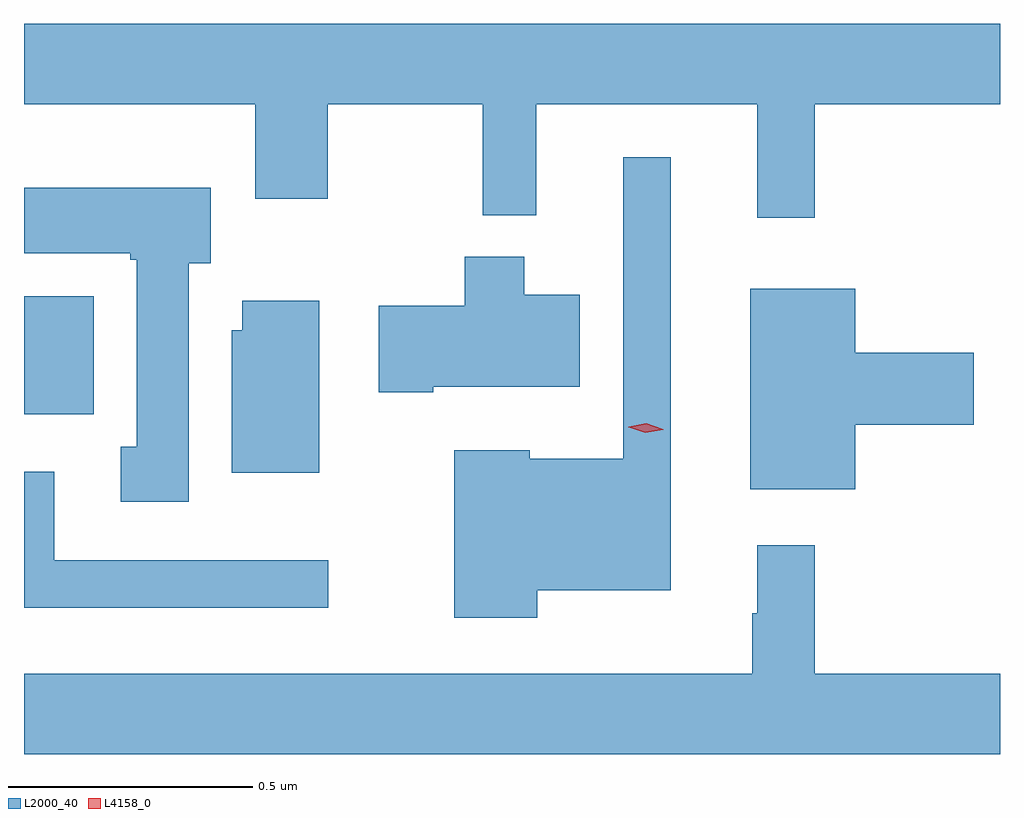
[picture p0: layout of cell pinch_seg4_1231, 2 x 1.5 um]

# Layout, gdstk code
import gdstk
lib = gdstk.Library(unit=1e-6, precision=1e-09)
def R(c, l, rs):  # rectangles x0, y0, x1, y1
    for r in rs: c.add(gdstk.rectangle(r[:2], r[2:], *l))
def P(c, l, *ps):  # polygons
    for p in ps: c.add(gdstk.Polygon(p, *l))
L2000_40 = (2000, 40)
L4158_0 = (4158, 0)

pinch_seg4_1231 = lib.new_cell('pinch_seg4_1231')
R(pinch_seg4_1231, L2000_40, [(330.287,800.18,330.43,800.422)])
P(pinch_seg4_1231, L2000_40, [(331.907,800.816),(332.287,800.816),(332.287,800.98),(330.287,800.98),(330.287,800.816),(330.761,800.816),(330.761,800.622),(330.909,800.622),(330.909,800.816),(331.227,800.816),(331.227,800.588),(331.337,800.588),(331.337,800.816),(331.79,800.816),(331.79,800.583),(331.907,800.583)],
  [(331.339,799.82),(331.612,799.82),(331.612,800.707),(331.515,800.707),(331.515,800.089),(331.323,800.089),(331.323,800.107),(331.169,800.107),(331.169,799.763),(331.339,799.763)],
  [(330.625,800.49),(330.67,800.49),(330.67,800.644),(330.287,800.644),(330.287,800.51),(330.505,800.51),(330.505,800.497),(330.518,800.497),(330.518,800.114),(330.485,800.114),(330.485,800.001),(330.625,800.001)],
  [(331.126,800.237),(331.426,800.237),(331.426,800.425),(331.312,800.425),(331.312,800.503),(331.19,800.503),(331.19,800.403),(331.014,800.403),(331.014,800.225),(331.126,800.225)],
  [(331.99,800.159),(332.233,800.159),(332.233,800.306),(331.99,800.306),(331.99,800.437),(331.775,800.437),(331.775,800.027),(331.99,800.027)],
  [(330.892,800.413),(330.734,800.413),(330.734,800.352),(330.713,800.352),(330.713,800.06),(330.892,800.06)],
  [(330.91,799.881),(330.349,799.881),(330.349,800.062),(330.287,800.062),(330.287,799.784),(330.91,799.784)],
  [(332.287,799.648),(331.907,799.648),(331.907,799.912),(331.79,799.912),(331.79,799.772),(331.779,799.772),(331.779,799.648),(330.287,799.648),(330.287,799.484),(332.287,799.484)])
P(pinch_seg4_1231, L4158_0, [(331.56,800.142),(331.526,800.154),(331.525,800.154),(331.526,800.155),(331.562,800.162),(331.597,800.15),(331.597,800.15),(331.597,800.149)])

lib.write_gds('pinch_seg4_1231.gds')
